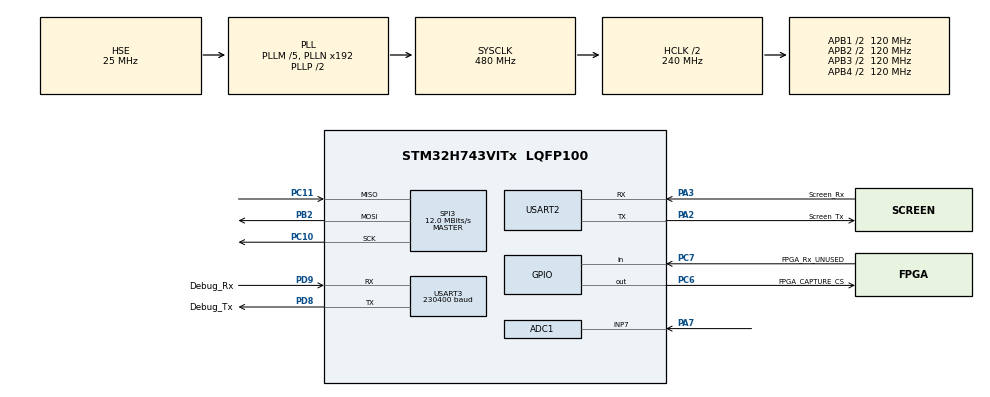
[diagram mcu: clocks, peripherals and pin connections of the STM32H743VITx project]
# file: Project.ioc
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ADC1.Channel-0\#ChannelRegularConversion=ADC_CHANNEL_7
ADC1.ConversionDataManagement=ADC_CONVERSIONDATA_DMA_ONESHOT
ADC1.ExternalTrigConv=ADC_EXTERNALTRIG_T3_TRGO
ADC1.NbrOfConversionFlag=1
ADC1.OffsetNumber-0\#ChannelRegularConversion=ADC_OFFSET_NONE
ADC1.OffsetSignedSaturation-0\#ChannelRegularConversion=DISABLE
ADC1.Rank-0\#ChannelRegularConversion=1
ADC1.SamplingTime-0\#ChannelRegularConversion=ADC_SAMPLETIME_1CYCLE_5
ADC1.master=1
CORTEX_M7.default_mode_Activation=1
Dma.ADC1.1.Direction=DMA_PERIPH_TO_MEMORY
Dma.ADC1.1.EventEnable=DISABLE
Dma.ADC1.1.FIFOMode=DMA_FIFOMODE_DISABLE
Dma.ADC1.1.Instance=DMA1_Stream1
Dma.ADC1.1.MemDataAlignment=DMA_MDATAALIGN_HALFWORD
Dma.ADC1.1.MemInc=DMA_MINC_ENABLE
Dma.ADC1.1.Mode=DMA_NORMAL
Dma.ADC1.1.PeriphDataAlignment=DMA_PDATAALIGN_HALFWORD
Dma.ADC1.1.PeriphInc=DMA_PINC_DISABLE
Dma.ADC1.1.Polarity=HAL_DMAMUX_REQ_GEN_RISING
Dma.ADC1.1.Priority=DMA_PRIORITY_LOW
Dma.ADC1.1.RequestNumber=1
Dma.ADC1.1.SignalID=NONE
Dma.ADC1.1.SyncEnable=DISABLE
Dma.ADC1.1.SyncPolarity=HAL_DMAMUX_SYNC_NO_EVENT
Dma.ADC1.1.SyncRequestNumber=1
Dma.ADC1.1.SyncSignalID=NONE
Dma.Request0=USART3_RX
Dma.Request1=ADC1
Dma.Request2=SPI3_TX
Dma.Request3=SPI3_RX
Dma.SPI3_TX.2.Direction=DMA_MEMORY_TO_PERIPH
Dma.SPI3_TX.2.EventEnable=DISABLE
Dma.SPI3_TX.2.FIFOMode=DMA_FIFOMODE_DISABLE
Dma.SPI3_TX.2.Instance=DMA1_Stream2
Dma.SPI3_TX.2.MemDataAlignment=DMA_MDATAALIGN_HALFWORD
Dma.SPI3_TX.2.MemInc=DMA_MINC_ENABLE
Dma.SPI3_TX.2.Mode=DMA_NORMAL
Dma.SPI3_TX.2.PeriphDataAlignment=DMA_PDATAALIGN_HALFWORD
Dma.SPI3_TX.2.PeriphInc=DMA_PINC_DISABLE
Dma.SPI3_TX.2.Polarity=HAL_DMAMUX_REQ_GEN_RISING
Dma.SPI3_TX.2.Priority=DMA_PRIORITY_VERY_HIGH
Dma.SPI3_TX.2.RequestNumber=1
Dma.SPI3_TX.2.SignalID=NONE
Dma.SPI3_TX.2.SyncEnable=DISABLE
Dma.SPI3_TX.2.SyncPolarity=HAL_DMAMUX_SYNC_NO_EVENT
Dma.SPI3_TX.2.SyncRequestNumber=1
Dma.SPI3_TX.2.SyncSignalID=NONE
Dma.SPI3_RX.3.Direction=DMA_PERIPH_TO_MEMORY
Dma.SPI3_RX.3.EventEnable=DISABLE
Dma.SPI3_RX.3.FIFOMode=DMA_FIFOMODE_DISABLE
Dma.SPI3_RX.3.Instance=DMA1_Stream3
Dma.SPI3_RX.3.MemDataAlignment=DMA_MDATAALIGN_HALFWORD
Dma.SPI3_RX.3.MemInc=DMA_MINC_ENABLE
Dma.SPI3_RX.3.Mode=DMA_NORMAL
Dma.SPI3_RX.3.PeriphDataAlignment=DMA_PDATAALIGN_HALFWORD
Dma.SPI3_RX.3.PeriphInc=DMA_PINC_DISABLE
Dma.SPI3_RX.3.Polarity=HAL_DMAMUX_REQ_GEN_RISING
Dma.SPI3_RX.3.Priority=DMA_PRIORITY_VERY_HIGH
Dma.SPI3_RX.3.RequestNumber=1
Dma.SPI3_RX.3.SignalID=NONE
Dma.SPI3_RX.3.SyncEnable=DISABLE
Dma.SPI3_RX.3.SyncPolarity=HAL_DMAMUX_SYNC_NO_EVENT
Dma.SPI3_RX.3.SyncRequestNumber=1
Dma.SPI3_RX.3.SyncSignalID=NONE
Dma.USART3_RX.0.Direction=DMA_PERIPH_TO_MEMORY
Dma.USART3_RX.0.EventEnable=DISABLE
Dma.USART3_RX.0.FIFOMode=DMA_FIFOMODE_DISABLE
Dma.USART3_RX.0.Instance=DMA1_Stream0
Dma.USART3_RX.0.MemDataAlignment=DMA_MDATAALIGN_BYTE
Dma.USART3_RX.0.MemInc=DMA_MINC_ENABLE
Dma.USART3_RX.0.Mode=DMA_NORMAL
Dma.USART3_RX.0.PeriphDataAlignment=DMA_PDATAALIGN_BYTE
Dma.USART3_RX.0.PeriphInc=DMA_PINC_DISABLE
Dma.USART3_RX.0.Polarity=HAL_DMAMUX_REQ_GEN_RISING
Dma.USART3_RX.0.Priority=DMA_PRIORITY_LOW
Dma.USART3_RX.0.RequestNumber=1
Dma.USART3_RX.0.SignalID=NONE
Dma.USART3_RX.0.SyncEnable=DISABLE
Dma.USART3_RX.0.SyncPolarity=HAL_DMAMUX_SYNC_NO_EVENT
Dma.USART3_RX.0.SyncRequestNumber=1
Dma.USART3_RX.0.SyncSignalID=NONE
Mcu.Family=STM32H7
Mcu.Name=STM32H743VITx
Mcu.Package=LQFP100
NVIC.ADC_IRQn=true\:0\:0\:false\:false\:true\:true\:true\:true
NVIC.DMA1_Stream0_IRQn=true\:0\:0\:false\:false\:true\:false\:true\:true
NVIC.DMA1_Stream1_IRQn=true\:0\:0\:false\:false\:true\:false\:true\:true
NVIC.DMA1_Stream2_IRQn=true\:1\:0\:false\:false\:true\:false\:true\:true
NVIC.DMA1_Stream3_IRQn=true\:1\:0\:false\:false\:true\:false\:true\:true
NVIC.PriorityGroup=NVIC_PRIORITYGROUP_4
NVIC.TIM3_IRQn=true\:0\:0\:false\:false\:true\:true\:true\:true
NVIC.USART3_IRQn=true\:0\:0\:false\:false\:true\:true\:true\:true
PA13\ (JTMS/SWDIO).Mode=Serial_Wire
PA13\ (JTMS/SWDIO).Signal=DEBUG_JTMS-SWDIO
PA14\ (JTCK/SWCLK).Mode=Serial_Wire
PA14\ (JTCK/SWCLK).Signal=DEBUG_JTCK-SWCLK
PA2.GPIO_Label=Screen_Tx
PA2.Mode=Asynchronous
PA2.Signal=USART2_TX
PA3.GPIO_Label=Screen_Rx
PA3.Mode=Asynchronous
PA3.Signal=USART2_RX
PA7.Signal=ADCx_INP7
PB2.Mode=Full_Duplex_Master
PB2.Signal=SPI3_MOSI
PC10.Mode=Full_Duplex_Master
PC10.Signal=SPI3_SCK
PC11.GPIO_PuPd=GPIO_PULLDOWN
PC11.Mode=Full_Duplex_Master
PC11.Signal=SPI3_MISO
PC6.GPIO_Label=FPGA_CAPTURE_CS
PC6.Signal=GPIO_Output
PC7.GPIO_Label=FPGA_Rx_UNUSED
PC7.Signal=GPIO_Input
PD8.GPIO_Label=Debug_Tx
PD8.Mode=Asynchronous
PD8.Signal=USART3_TX
PD9.GPIO_Label=Debug_Rx
PD9.Mode=Asynchronous
PD9.Signal=USART3_RX
PH0-OSC_IN\ (PH0).Mode=HSE-External-Oscillator
PH0-OSC_IN\ (PH0).Signal=RCC_OSC_IN
PH1-OSC_OUT\ (PH1).Mode=HSE-External-Oscillator
PH1-OSC_OUT\ (PH1).Signal=RCC_OSC_OUT
ProjectManager.HeapSize=0x200
ProjectManager.StackSize=0x400
ProjectManager.TargetToolchain=MDK-ARM V5.32
RCC.ADCFreq_Value=75000000
RCC.APB1Freq_Value=120000000
RCC.APB2Freq_Value=120000000
RCC.APB3Freq_Value=120000000
RCC.APB4Freq_Value=120000000
RCC.CortexFreq_Value=480000000
RCC.D1PPRE=RCC_APB3_DIV2
RCC.D2PPRE1=RCC_APB1_DIV2
RCC.D2PPRE2=RCC_APB2_DIV2
RCC.D3PPRE=RCC_APB4_DIV2
RCC.DIVM1=5
RCC.DIVM2=2
RCC.DIVN1=192
RCC.DIVN2=12
RCC.DIVQ1=5
RCC.HCLKFreq_Value=240000000
RCC.HPRE=RCC_HCLK_DIV2
RCC.PLL2FRACN=0
RCC.PLLFRACN=0
RCC.PLLSourceVirtual=RCC_PLLSOURCE_HSE
RCC.SYSCLKFreq_VALUE=480000000
RCC.SYSCLKSource=RCC_SYSCLKSOURCE_PLLCLK
RCC.USBFreq_Value=192000000
SH.ADCx_INP7.0=ADC1_INP7,IN7-Single-Ended
SPI3.BaudRatePrescaler=SPI_BAUDRATEPRESCALER_16
SPI3.CalculateBaudRate=12.0 MBits/s
SPI3.CLKPolarity=SPI_POLARITY_HIGH
SPI3.DataSize=SPI_DATASIZE_16BIT
SPI3.Direction=SPI_DIRECTION_2LINES
SPI3.Mode=SPI_MODE_MASTER
SPI3.VirtualType=VM_MASTER
TIM3.AutoReloadPreload=TIM_AUTORELOAD_PRELOAD_ENABLE
TIM3.Period=117-1
TIM3.TIM_MasterOutputTrigger=TIM_TRGO_UPDATE
USART2.VirtualMode-Asynchronous=VM_ASYNC
USART3.BaudRate=230400
USART3.VirtualMode-Asynchronous=VM_ASYNC
VP_MEMORYMAP_VS_MEMORYMAP.Mode=CurAppReg
VP_TIM3_VS_ClockSourceINT.Mode=Internal
board=custom

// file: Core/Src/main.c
/* USER CODE BEGIN Header */
/**
  ******************************************************************************
  * @file           : main.c
  * @brief          : Main program body
  ******************************************************************************
  * @attention
  *
  * Copyright (c) 2026 STMicroelectronics.
  * All rights reserved.
  *
  * This software is licensed under terms that can be found in the LICENSE file
  * in the root directory of this software component.
  * If no LICENSE file comes with this software, it is provided AS-IS.
  *
  ******************************************************************************
  */
/* USER CODE END Header */
#include "main.h"
#include "adc.h"
#include "dma.h"
#include "spi.h"
#include "tim.h"
#include "usart.h"
#include "gpio.h"

/* USER CODE BEGIN Includes */
#include "g_Inc.h"
/* USER CODE END Includes */

/* USER CODE BEGIN PTD */

typedef enum
{
  START_SWITCH_WAITING = 0,
  START_SWITCH_START_DEBOUNCE,
  START_SWITCH_RUNNING,
  START_SWITCH_RESET_DEBOUNCE
} StartSwitchState_t;

typedef enum
{
  START_SWITCH_EVENT_NONE = 0,
  START_SWITCH_EVENT_START,
  START_SWITCH_EVENT_RESET
} StartSwitchEvent_t;

/* USER CODE END PTD */

/* USER CODE BEGIN PD */

#define START_SWITCH_GPIO_PORT       GPIOB
#define START_SWITCH_PIN             GPIO_PIN_12
#define START_SWITCH_DEBOUNCE_MS     50U

/* USER CODE END PD */

/* USER CODE BEGIN PV */
static Analyzer_Result_t AnalyzerResult;
static uint32_t AnalyzerStatusTick;
static StartSwitchState_t StartSwitchState;
static uint32_t StartSwitchDebounceTick;
static uint8_t AnalyzerRunning;

/* USER CODE END PV */

void SystemClock_Config(void);
static void MPU_Config(void);
/* USER CODE BEGIN PFP */
static void StartSwitch_Init(void);
static StartSwitchEvent_t StartSwitch_Service(void);

/* USER CODE END PFP */

/* USER CODE BEGIN 0 */

static void StartSwitch_Init(void)
{
  GPIO_InitTypeDef gpio = {0};

  __HAL_RCC_GPIOB_CLK_ENABLE();
  gpio.Pin = START_SWITCH_PIN;
  gpio.Mode = GPIO_MODE_INPUT;
  gpio.Pull = GPIO_PULLUP;
  HAL_GPIO_Init(START_SWITCH_GPIO_PORT, &gpio);

  StartSwitchState = START_SWITCH_WAITING;
  StartSwitchDebounceTick = HAL_GetTick();
  AnalyzerRunning = 0U;
}

static StartSwitchEvent_t StartSwitch_Service(void)
{
  GPIO_PinState pin_state =
      HAL_GPIO_ReadPin(START_SWITCH_GPIO_PORT, START_SWITCH_PIN);

  switch (StartSwitchState)
  {
    case START_SWITCH_WAITING:
      if (pin_state == GPIO_PIN_RESET)
      {
        StartSwitchDebounceTick = HAL_GetTick();
        StartSwitchState = START_SWITCH_START_DEBOUNCE;
      }
      break;

    case START_SWITCH_START_DEBOUNCE:
      if (pin_state != GPIO_PIN_RESET)
      {
        StartSwitchState = START_SWITCH_WAITING;
      }
      else if ((HAL_GetTick() - StartSwitchDebounceTick) >=
               START_SWITCH_DEBOUNCE_MS)
      {
        StartSwitchState = START_SWITCH_RUNNING;
        return START_SWITCH_EVENT_START;
      }
      break;

    case START_SWITCH_RUNNING:
      if (pin_state == GPIO_PIN_SET)
      {
        StartSwitchDebounceTick = HAL_GetTick();
        StartSwitchState = START_SWITCH_RESET_DEBOUNCE;
      }
      break;

    case START_SWITCH_RESET_DEBOUNCE:
      if (pin_state != GPIO_PIN_SET)
      {
        StartSwitchState = START_SWITCH_RUNNING;
      }
      else if ((HAL_GetTick() - StartSwitchDebounceTick) >=
               START_SWITCH_DEBOUNCE_MS)
      {
        return START_SWITCH_EVENT_RESET;
      }
      break;

    default:
      StartSwitchState = START_SWITCH_WAITING;
      break;
  }

  return START_SWITCH_EVENT_NONE;
}

/* USER CODE END 0 */

int main(void)
{

  /* MPU Configuration--------------------------------------------------------*/
  MPU_Config();

  /* MCU Configuration--------------------------------------------------------*/

  /* Reset of all peripherals, Initializes the Flash interface and the Systick. */
  HAL_Init();

  /* Configure the system clock */
  SystemClock_Config();

  /* Initialize all configured peripherals */
  MX_GPIO_Init();
  MX_DMA_Init();
  MX_ADC1_Init();
  MX_SPI3_Init();
  MX_TIM3_Init();
  MX_USART2_UART_Init();
  MX_USART3_UART_Init();
  /* USER CODE BEGIN 2 */
  StartSwitch_Init();
  USART3_CommandRx_Init();
  SignalAnalyzer_Init();
  HMI_Display_Init();
  printf("ANALYZER_FW,H743VI_GAIN_CAL,build=20260731_1900\r\n");
  printf("ANALYZER_CAL,profile=adc_direct,version=4,scale=0.977656,"
         "mv_per_code=2.386855\r\n");
  printf("ANALYZER_WAIT_START,pin=PB12,active=low,debounce_ms=%u\r\n",
         (unsigned int)START_SWITCH_DEBOUNCE_MS);
  printf("SPI3_PINCHECK,mode=%lu,pupd=%lu,af=%lu,idr=%lu\r\n",
         (unsigned long)((GPIOC->MODER >> (11U * 2U)) & 3U),
         (unsigned long)((GPIOC->PUPDR >> (11U * 2U)) & 3U),
         (unsigned long)((GPIOC->AFR[1] >> ((11U - 8U) * 4U)) & 15U),
         (unsigned long)((GPIOC->IDR >> 11U) & 1U));
  /* USER CODE END 2 */

  /* Infinite loop */
  /* USER CODE BEGIN WHILE */
  while (1)
  {
    StartSwitchEvent_t switch_event;

    Command_Execute();
    HMI_Display_Service();
    switch_event = StartSwitch_Service();

    if (switch_event == START_SWITCH_EVENT_RESET)
    {
      printf("ANALYZER_BUTTON_RESET,pin=PB12\r\n");
      NVIC_SystemReset();
    }

    if (AnalyzerRunning == 0U)
    {
      if (switch_event == START_SWITCH_EVENT_START)
      {
        if (FPGACapture_Init() == HAL_OK)
        {
          AnalyzerRunning = 1U;
          AnalyzerStatusTick = HAL_GetTick();
          printf("ANALYZER_BUTTON_START,pin=PB12\r\n");
          printf("ANALYZER_START,raw_fs=25000000,decimation=13,"
                 "analysis_fs=1923076.923,n=4096,spi=SPI3_12MHz\r\n");
        }
        else
        {
          HMI_Display_ShowStatus("NO SIGNAL");
          printf("ANALYZER_ERROR,fpga_capture_init\r\n");
        }
      }

      if (AnalyzerRunning == 0U)
      {
        continue;
      }
    }

    FPGACapture_Service();

    if ((HAL_GetTick() - AnalyzerStatusTick) >= 1000U)
    {
      const FPGA_CaptureStatus_t *status = FPGACapture_GetStatus();
      AnalyzerStatusTick = HAL_GetTick();
      printf("ANALYZER_STATUS,pll=%u,cfg=%u,busy=%u,ready=%u,"
             "frame=%u,otr=%lu,good=%lu,crc=%lu,protocol=%lu,dma=%lu,"
             "fw=1900,pc11_mode=%lu,pc11_pupd=%lu,pc11_af=%lu,"
             "pc11_idr=%lu\r\n",
             status->pll_locked, status->adc_configured,
             status->capture_busy, status->frame_ready, status->frame_id,
             (unsigned long)status->otr_count,
             (unsigned long)status->good_frames,
             (unsigned long)status->crc_errors,
             (unsigned long)status->protocol_errors,
             (unsigned long)status->dma_errors,
             (unsigned long)((GPIOC->MODER >> (11U * 2U)) & 3U),
             (unsigned long)((GPIOC->PUPDR >> (11U * 2U)) & 3U),
             (unsigned long)((GPIOC->AFR[1] >>
                              ((11U - 8U) * 4U)) & 15U),
             (unsigned long)((GPIOC->IDR >> 11U) & 1U));
    }

    if (FPGACapture_FrameAvailable() != 0U)
    {
      const FPGA_CaptureStatus_t *capture_status =
          FPGACapture_GetStatus();
      const int16_t *capture_samples = FPGACapture_GetSamples();
      uint8_t wave_dump_request = Command_TakeWaveDumpRequest();
      if (SignalAnalyzer_Process(capture_samples,
                                 capture_status->frame_id,
                                 capture_status->otr_count,
                                 &AnalyzerResult) != 0U)
      {
        uint32_t i;
        printf("ANALYZER_RESULT,frame=%lu,f0=%.3f,upp=%.3f,"
               "urms=%.3f,components=%u,otr=%lu,processing_us=%lu\r\n",
               (unsigned long)AnalyzerResult.frame_id,
               AnalyzerResult.fundamental_hz,
               AnalyzerResult.upp_mv,
               AnalyzerResult.urms_mv,
               AnalyzerResult.component_count,
               (unsigned long)AnalyzerResult.otr_count,
               (unsigned long)AnalyzerResult.processing_us);
        for (i = 0U; i < AnalyzerResult.component_count; ++i)
        {
          printf("ANALYZER_COMPONENT,n=%u,f=%.3f,peak_mv=%.3f,"
                 "phase=%.6f\r\n",
                 AnalyzerResult.component[i].harmonic_order,
                 AnalyzerResult.component[i].frequency_hz,
                 AnalyzerResult.component[i].amplitude_peak_mv,
                 AnalyzerResult.component[i].phase_rad);
        }
        HMI_Display_Update(&AnalyzerResult,
                           SignalAnalyzer_GetDisplayWave(),
                           ANALYZER_DISPLAY_POINTS);
      }
      else
      {
        HMI_Display_ShowStatus("NO SIGNAL");
        printf("ANALYZER_NO_VALID_COMPONENT,frame=%u\r\n",
               capture_status->frame_id);
      }

      if (wave_dump_request == 1U)
      {
        uint32_t i;
        printf("WAVE_RAW_BEGIN,frame=%u,fs=1923076.923,count=4096\r\n",
               capture_status->frame_id);
        for (i = 0U; i < FPGA_CAPTURE_SAMPLE_COUNT; ++i)
        {
          printf("%d\r\n", capture_samples[i]);
        }
        printf("WAVE_RAW_END\r\n");
      }
      else if (wave_dump_request == 2U)
      {
        const int16_t *display_wave = SignalAnalyzer_GetDisplayWave();
        uint32_t i;
        printf("WAVE_DISPLAY_BEGIN,frame=%u,periods=%u,count=%u\r\n",
               capture_status->frame_id,
               SignalAnalyzer_GetDisplayPeriods(),
               ANALYZER_DISPLAY_POINTS);
        for (i = 0U; i < ANALYZER_DISPLAY_POINTS; ++i)
        {
          printf("%d\r\n", display_wave[i]);
        }
        printf("WAVE_DISPLAY_END\r\n");
      }
      FPGACapture_ReleaseFrame();
    }

    /* USER CODE END WHILE */

  }
}

void SystemClock_Config(void)
{
  RCC_OscInitTypeDef RCC_OscInitStruct = {0};
  RCC_ClkInitTypeDef RCC_ClkInitStruct = {0};

  /** Supply configuration update enable
  */
  HAL_PWREx_ConfigSupply(PWR_LDO_SUPPLY);

  /** Configure the main internal regulator output voltage
  */
  __HAL_PWR_VOLTAGESCALING_CONFIG(PWR_REGULATOR_VOLTAGE_SCALE0);

  while(!__HAL_PWR_GET_FLAG(PWR_FLAG_VOSRDY)) {}

  /** Initializes the RCC Oscillators according to the specified parameters
  * in the RCC_OscInitTypeDef structure.
  */
  RCC_OscInitStruct.OscillatorType = RCC_OSCILLATORTYPE_HSE;
  RCC_OscInitStruct.HSEState = RCC_HSE_ON;
  RCC_OscInitStruct.PLL.PLLState = RCC_PLL_ON;
  RCC_OscInitStruct.PLL.PLLSource = RCC_PLLSOURCE_HSE;
  RCC_OscInitStruct.PLL.PLLM = 5;
  RCC_OscInitStruct.PLL.PLLN = 192;
  RCC_OscInitStruct.PLL.PLLP = 2;
  RCC_OscInitStruct.PLL.PLLQ = 5;
  RCC_OscInitStruct.PLL.PLLR = 2;
  RCC_OscInitStruct.PLL.PLLRGE = RCC_PLL1VCIRANGE_2;
  RCC_OscInitStruct.PLL.PLLVCOSEL = RCC_PLL1VCOWIDE;
  RCC_OscInitStruct.PLL.PLLFRACN = 0;
  if (HAL_RCC_OscConfig(&RCC_OscInitStruct) != HAL_OK)
  {
    Error_Handler();
  }

  /** Initializes the CPU, AHB and APB buses clocks
  */
  RCC_ClkInitStruct.ClockType = RCC_CLOCKTYPE_HCLK|RCC_CLOCKTYPE_SYSCLK
                              |RCC_CLOCKTYPE_PCLK1|RCC_CLOCKTYPE_PCLK2
                              |RCC_CLOCKTYPE_D3PCLK1|RCC_CLOCKTYPE_D1PCLK1;
  RCC_ClkInitStruct.SYSCLKSource = RCC_SYSCLKSOURCE_PLLCLK;
  RCC_ClkInitStruct.SYSCLKDivider = RCC_SYSCLK_DIV1;
  RCC_ClkInitStruct.AHBCLKDivider = RCC_HCLK_DIV2;
  RCC_ClkInitStruct.APB3CLKDivider = RCC_APB3_DIV2;
  RCC_ClkInitStruct.APB1CLKDivider = RCC_APB1_DIV2;
  RCC_ClkInitStruct.APB2CLKDivider = RCC_APB2_DIV2;
  RCC_ClkInitStruct.APB4CLKDivider = RCC_APB4_DIV2;

  if (HAL_RCC_ClockConfig(&RCC_ClkInitStruct, FLASH_LATENCY_4) != HAL_OK)
  {
    Error_Handler();
  }
}

 /* MPU Configuration */

void MPU_Config(void)
{
  MPU_Region_InitTypeDef MPU_InitStruct = {0};

  /* Disables the MPU */
  HAL_MPU_Disable();

  /** Initializes and configures the Region and the memory to be protected
  */
  MPU_InitStruct.Enable = MPU_REGION_ENABLE;
  MPU_InitStruct.Number = MPU_REGION_NUMBER0;
  MPU_InitStruct.BaseAddress = 0x0;
  MPU_InitStruct.Size = MPU_REGION_SIZE_4GB;
  MPU_InitStruct.SubRegionDisable = 0x87;
  MPU_InitStruct.TypeExtField = MPU_TEX_LEVEL0;
  MPU_InitStruct.AccessPermission = MPU_REGION_NO_ACCESS;
  MPU_InitStruct.DisableExec = MPU_INSTRUCTION_ACCESS_DISABLE;
  MPU_InitStruct.IsShareable = MPU_ACCESS_SHAREABLE;
  MPU_InitStruct.IsCacheable = MPU_ACCESS_NOT_CACHEABLE;
  MPU_InitStruct.IsBufferable = MPU_ACCESS_NOT_BUFFERABLE;

  HAL_MPU_ConfigRegion(&MPU_InitStruct);
  /* Enables the MPU */
  HAL_MPU_Enable(MPU_PRIVILEGED_DEFAULT);

}

void Error_Handler(void)
{
  __disable_irq();
  while (1)
  {
  }
}
